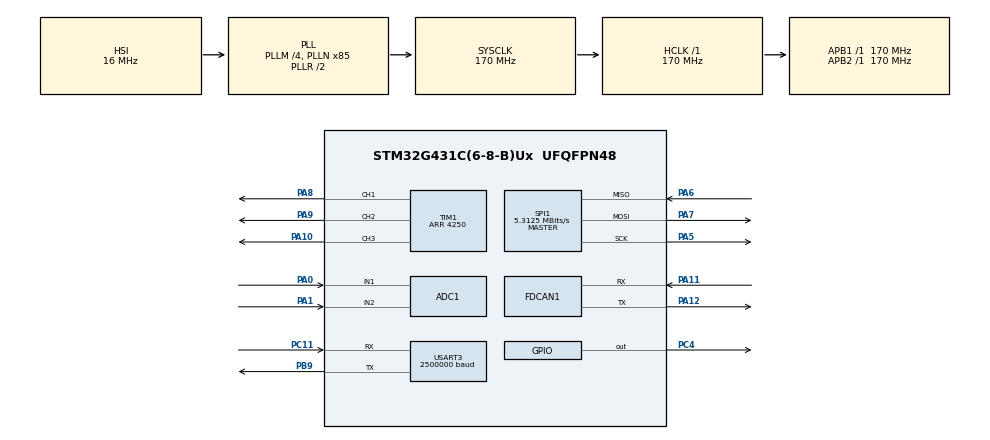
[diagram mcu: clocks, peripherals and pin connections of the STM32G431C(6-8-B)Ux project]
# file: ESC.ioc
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ADC1.Channel-1\#ChannelRegularConversion=ADC_CHANNEL_1
ADC1.Channel-3\#ChannelRegularConversion=ADC_CHANNEL_2
ADC1.ClockPrescaler=ADC_CLOCK_ASYNC_DIV8
ADC1.ContinuousConvMode=ENABLE
ADC1.DMAContinuousRequests=ENABLE
ADC1.EOCSelection=ADC_EOC_SEQ_CONV
ADC1.NbrOfConversion=2
ADC1.NbrOfConversionFlag=1
ADC1.OffsetNumber-1\#ChannelRegularConversion=ADC_OFFSET_NONE
ADC1.OffsetNumber-3\#ChannelRegularConversion=ADC_OFFSET_NONE
ADC1.Rank-1\#ChannelRegularConversion=1
ADC1.Rank-3\#ChannelRegularConversion=2
ADC1.SamplingTime-1\#ChannelRegularConversion=ADC_SAMPLETIME_2CYCLES_5
ADC1.SamplingTime-3\#ChannelRegularConversion=ADC_SAMPLETIME_2CYCLES_5
ADC1.master=1
Dma.ADC1.0.Direction=DMA_PERIPH_TO_MEMORY
Dma.ADC1.0.EventEnable=DISABLE
Dma.ADC1.0.Instance=DMA1_Channel1
Dma.ADC1.0.MemDataAlignment=DMA_MDATAALIGN_HALFWORD
Dma.ADC1.0.MemInc=DMA_MINC_ENABLE
Dma.ADC1.0.Mode=DMA_CIRCULAR
Dma.ADC1.0.PeriphDataAlignment=DMA_PDATAALIGN_HALFWORD
Dma.ADC1.0.PeriphInc=DMA_PINC_DISABLE
Dma.ADC1.0.Polarity=HAL_DMAMUX_REQ_GEN_RISING
Dma.ADC1.0.Priority=DMA_PRIORITY_LOW
Dma.ADC1.0.RequestNumber=1
Dma.ADC1.0.SignalID=NONE
Dma.ADC1.0.SyncEnable=DISABLE
Dma.ADC1.0.SyncPolarity=HAL_DMAMUX_SYNC_NO_EVENT
Dma.ADC1.0.SyncRequestNumber=1
Dma.ADC1.0.SyncSignalID=NONE
Dma.Request0=ADC1
FDCAN1.CalculateBaudRateNominal=2125000
FDCAN1.CalculateTimeBitNominal=470
FDCAN1.CalculateTimeQuantumNominal=94.11764705882354
Mcu.Family=STM32G4
Mcu.Name=STM32G431C(6-8-B)Ux
Mcu.Package=UFQFPN48
NVIC.DMA1_Channel1_IRQn=true\:0\:0\:false\:false\:true\:false\:true\:true
NVIC.PriorityGroup=NVIC_PRIORITYGROUP_4
NVIC.TIM1_UP_TIM16_IRQn=true\:0\:0\:false\:false\:true\:true\:true\:true
PA0.Mode=IN1-Single-Ended
PA0.Signal=ADC1_IN1
PA1.Mode=IN2-Single-Ended
PA1.Signal=ADC1_IN2
PA10.Signal=S_TIM1_CH3
PA11.Mode=FDCAN_Activate
PA11.Signal=FDCAN1_RX
PA12.Mode=FDCAN_Activate
PA12.Signal=FDCAN1_TX
PA5.Mode=Full_Duplex_Master
PA5.Signal=SPI1_SCK
PA6.Mode=Full_Duplex_Master
PA6.Signal=SPI1_MISO
PA7.Mode=Full_Duplex_Master
PA7.Signal=SPI1_MOSI
PA8.Signal=S_TIM1_CH1
PA9.Signal=S_TIM1_CH2
PB9.Mode=Asynchronous
PB9.Signal=USART3_TX
PC11.Mode=Asynchronous
PC11.Signal=USART3_RX
PC4.Signal=GPIO_Output
ProjectManager.HeapSize=0x200
ProjectManager.StackSize=0x400
ProjectManager.TargetToolchain=MDK-ARM V5.32
RCC.ADC12Freq_Value=170000000
RCC.AHBFreq_Value=170000000
RCC.APB1Freq_Value=170000000
RCC.APB1TimFreq_Value=170000000
RCC.APB2Freq_Value=170000000
RCC.APB2TimFreq_Value=170000000
RCC.CortexFreq_Value=170000000
RCC.EXTERNAL_CLOCK_VALUE=12288000
RCC.HCLKFreq_Value=170000000
RCC.HSE_VALUE=8000000
RCC.HSI48_VALUE=48000000
RCC.HSI_VALUE=16000000
RCC.LSE_VALUE=32768
RCC.PLLM=RCC_PLLM_DIV4
RCC.PLLN=85
RCC.SYSCLKFreq_VALUE=170000000
RCC.SYSCLKSource=RCC_SYSCLKSOURCE_PLLCLK
RCC.USBFreq_Value=170000000
RCC.VCOOutputFreq_Value=340000000
SH.S_TIM1_CH1.0=TIM1_CH1,PWM Generation1 CH1
SH.S_TIM1_CH2.0=TIM1_CH2,PWM Generation2 CH2
SH.S_TIM1_CH3.0=TIM1_CH3,PWM Generation3 CH3
SPI1.BaudRatePrescaler=SPI_BAUDRATEPRESCALER_32
SPI1.CLKPhase=SPI_PHASE_2EDGE
SPI1.CalculateBaudRate=5.3125 MBits/s
SPI1.DataSize=SPI_DATASIZE_16BIT
SPI1.Direction=SPI_DIRECTION_2LINES
SPI1.Mode=SPI_MODE_MASTER
SPI1.VirtualType=VM_MASTER
TIM1.AutoReloadPreload=TIM_AUTORELOAD_PRELOAD_ENABLE
TIM1.Channel-PWM\ Generation1\ CH1=TIM_CHANNEL_1
TIM1.Channel-PWM\ Generation2\ CH2=TIM_CHANNEL_2
TIM1.Channel-PWM\ Generation3\ CH3=TIM_CHANNEL_3
TIM1.CounterMode=TIM_COUNTERMODE_CENTERALIGNED1
TIM1.PeriodNoDither=4250
TIM3.AutoReloadPreload=TIM_AUTORELOAD_PRELOAD_ENABLE
TIM3.ClockDivision=TIM_CLOCKDIVISION_DIV1
TIM3.Prescaler=300
USART3.BaudRate=2500000
USART3.VirtualMode-Asynchronous=VM_ASYNC
VP_SYS_VS_DBSignals.Mode=DisableDeadBatterySignals
VP_TIM1_VS_ClockSourceINT.Mode=Internal
VP_TIM3_VS_ClockSourceINT.Mode=Internal
board=custom

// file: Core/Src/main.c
/* USER CODE BEGIN Header */
/**
  ******************************************************************************
  * @file           : main.c
  * @brief          : Main program body
  ******************************************************************************
  * @attention
  *
  * Copyright (c) 2025 STMicroelectronics.
  * All rights reserved.
  *
  * This software is licensed under terms that can be found in the LICENSE file
  * in the root directory of this software component.
  * If no LICENSE file comes with this software, it is provided AS-IS.
  *
  ******************************************************************************
  */
/* USER CODE END Header */
#include "main.h"
#include "adc.h"
#include "dma.h"
#include "fdcan.h"
#include "spi.h"
#include "tim.h"
#include "usart.h"
#include "gpio.h"

/* USER CODE BEGIN Includes */
#include <stdio.h>
#include "foc_alg.h"
#include "foc_drv.h"
#include "as5047p.h"
// #include "./others/ADRC.h"
/* USER CODE END Includes */

/* USER CODE BEGIN PTD */
extern UART_HandleTypeDef huart3;
extern TIM_HandleTypeDef htim3;
extern TIM_HandleTypeDef htim1;
Motor_HandleTypeDef motor;
/* USER CODE END PTD */

/* USER CODE BEGIN PD */
int fputc(int ch ,FILE *f)
{
  HAL_UART_Transmit(&huart3,(uint8_t*)&ch,1,HAL_MAX_DELAY);
  return ch;
}
/* USER CODE END PD */

/* USER CODE BEGIN PM */
#define data_num 3
typedef struct
{
  float data[data_num];
  uint8_t frame_tail[4];
}justfloat_t;
void data_init(justfloat_t *justfloat)
{
  justfloat->data[0] = 0X00;
  justfloat->data[1] = 0X00;
  justfloat->data[2] = 0X80;
  justfloat->data[3] = 0X7F;
}
justfloat_t motordata;
/* USER CODE END PM */

void SystemClock_Config(void);

int main(void)
{

  /* MCU Configuration--------------------------------------------------------*/

  /* Reset of all peripherals, Initializes the Flash interface and the Systick. */
  HAL_Init();

  /* Configure the system clock */
  SystemClock_Config();

  /* Initialize all configured peripherals */
  MX_GPIO_Init();
  MX_DMA_Init();
  MX_ADC1_Init();
  MX_FDCAN1_Init();
  MX_SPI1_Init();
  MX_TIM1_Init();
  MX_USART3_UART_Init();
  MX_TIM3_Init();
  /* USER CODE BEGIN 2 */
  foc_init(&motor);
  update_2DIR_sensor_block(&motor);
  update_pole_pairs_sensor_nonblock(&motor);

  // ADRC_Init(&ADRC);
  // data_init(&motordata);

  /* USER CODE END 2 */

  /* Infinite loop */
  while (1)
  {

    /* USER CODE BEGIN 3 */

    // printf("%d\n",motor.MotorConfig.Pole_pairs);
    // motor.MotorDrv.Delayms(1);
  }
  /* USER CODE END 3 */
}

void SystemClock_Config(void)
{
  RCC_OscInitTypeDef RCC_OscInitStruct = {0};
  RCC_ClkInitTypeDef RCC_ClkInitStruct = {0};

  /** Configure the main internal regulator output voltage
  */
  HAL_PWREx_ControlVoltageScaling(PWR_REGULATOR_VOLTAGE_SCALE1_BOOST);

  /** Initializes the RCC Oscillators according to the specified parameters
  * in the RCC_OscInitTypeDef structure.
  */
  RCC_OscInitStruct.OscillatorType = RCC_OSCILLATORTYPE_HSI;
  RCC_OscInitStruct.HSIState = RCC_HSI_ON;
  RCC_OscInitStruct.HSICalibrationValue = RCC_HSICALIBRATION_DEFAULT;
  RCC_OscInitStruct.PLL.PLLState = RCC_PLL_ON;
  RCC_OscInitStruct.PLL.PLLSource = RCC_PLLSOURCE_HSI;
  RCC_OscInitStruct.PLL.PLLM = RCC_PLLM_DIV4;
  RCC_OscInitStruct.PLL.PLLN = 85;
  RCC_OscInitStruct.PLL.PLLP = RCC_PLLP_DIV2;
  RCC_OscInitStruct.PLL.PLLQ = RCC_PLLQ_DIV2;
  RCC_OscInitStruct.PLL.PLLR = RCC_PLLR_DIV2;
  if (HAL_RCC_OscConfig(&RCC_OscInitStruct) != HAL_OK)
  {
    Error_Handler();
  }

  /** Initializes the CPU, AHB and APB buses clocks
  */
  RCC_ClkInitStruct.ClockType = RCC_CLOCKTYPE_HCLK|RCC_CLOCKTYPE_SYSCLK
                              |RCC_CLOCKTYPE_PCLK1|RCC_CLOCKTYPE_PCLK2;
  RCC_ClkInitStruct.SYSCLKSource = RCC_SYSCLKSOURCE_PLLCLK;
  RCC_ClkInitStruct.AHBCLKDivider = RCC_SYSCLK_DIV1;
  RCC_ClkInitStruct.APB1CLKDivider = RCC_HCLK_DIV1;
  RCC_ClkInitStruct.APB2CLKDivider = RCC_HCLK_DIV1;

  if (HAL_RCC_ClockConfig(&RCC_ClkInitStruct, FLASH_LATENCY_4) != HAL_OK)
  {
    Error_Handler();
  }
}

/* USER CODE BEGIN 4 */
void HAL_TIM_PeriodElapsedCallback(TIM_HandleTypeDef *htim)
{

}
/* USER CODE END 4 */

void Error_Handler(void)
{
  __disable_irq();
  while (1)
  {
  }
}
